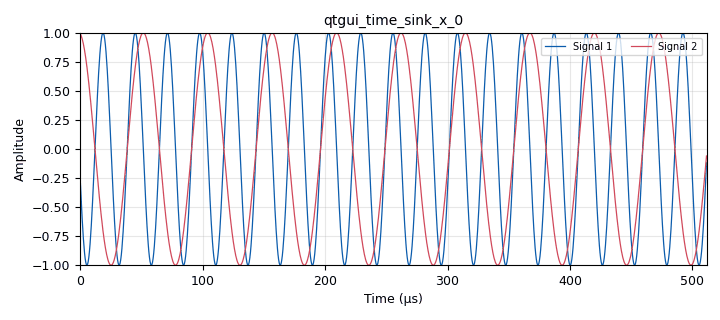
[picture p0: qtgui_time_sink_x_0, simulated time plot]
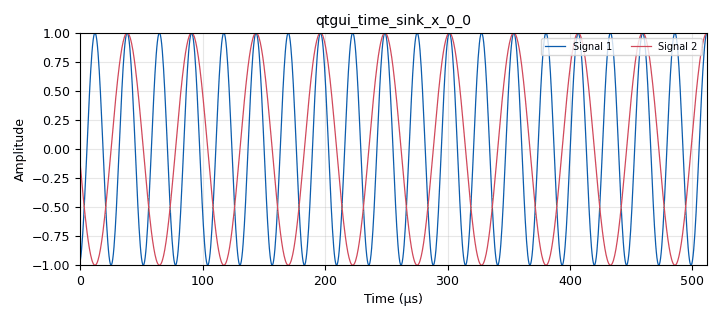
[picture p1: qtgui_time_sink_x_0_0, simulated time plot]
options:
  parameters:
    generate_options: qt_gui
    id: MPX
    output_language: python
    title: Not titled yet
  states: {}

blocks:
- name: samp_rate
  id: variable
  parameters:
    value: 2e6
  states: {}
- name: analog_sig_source_x_2
  id: analog_sig_source_x
  parameters:
    amp: '1'
    comment: Pilot
    freq: 19e3
    offset: '0'
    phase: '0'
    samp_rate: samp_rate
    type: complex
    waveform: analog.GR_SIN_WAVE
  states: {}
- name: blocks_complex_to_imag_0
  id: blocks_complex_to_imag
  parameters: {}
  states: {}
- name: blocks_complex_to_imag_1
  id: blocks_complex_to_imag
  parameters: {}
  states: {}
- name: blocks_complex_to_real_0
  id: blocks_complex_to_real
  parameters: {}
  states: {}
- name: blocks_complex_to_real_1
  id: blocks_complex_to_real
  parameters: {}
  states: {}
- name: blocks_multiply_xx_0
  id: blocks_multiply_xx
  parameters:
    type: complex
  states: {}
- name: blocks_throttle2_1
  id: blocks_throttle2
  parameters:
    samples_per_second: samp_rate
    type: complex
  states: {}
- name: qtgui_time_sink_x_0
  id: qtgui_time_sink_x
  parameters:
    comment: Me quedo con el sin y coinciden en el 0
    nconnections: '2'
    size: '1024'
    srate: samp_rate
    type: float
  states: {}
- name: qtgui_time_sink_x_0_0
  id: qtgui_time_sink_x
  parameters:
    comment: Me quedo con el cos y coinciden en el 1
    nconnections: '2'
    size: '1024'
    srate: samp_rate
    type: float
  states: {}

connections:
- [analog_sig_source_x_2, '0', blocks_throttle2_1, '0']
- [blocks_complex_to_imag_0, '0', qtgui_time_sink_x_0, '0']
- [blocks_complex_to_imag_1, '0', qtgui_time_sink_x_0, '1']
- [blocks_complex_to_real_0, '0', qtgui_time_sink_x_0_0, '0']
- [blocks_complex_to_real_1, '0', qtgui_time_sink_x_0_0, '1']
- [blocks_multiply_xx_0, '0', blocks_complex_to_imag_0, '0']
- [blocks_multiply_xx_0, '0', blocks_complex_to_real_0, '0']
- [blocks_throttle2_1, '0', blocks_complex_to_imag_1, '0']
- [blocks_throttle2_1, '0', blocks_complex_to_real_1, '0']
- [blocks_throttle2_1, '0', blocks_multiply_xx_0, '0']
- [blocks_throttle2_1, '0', blocks_multiply_xx_0, '1']

metadata:
  file_format: 1
  grc_version: 3.10.12.0
